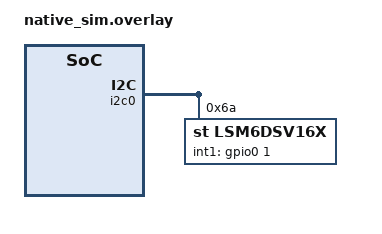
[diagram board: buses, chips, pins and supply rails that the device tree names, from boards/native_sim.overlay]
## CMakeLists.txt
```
# SPDX-License-Identifier: AGPL-3.0-or-later

cmake_minimum_required(VERSION 3.20.0)
find_package(Zephyr REQUIRED HINTS $ENV{ZEPHYR_BASE})
project(imu_threshold)

set(IMU_EMUL_DIR ${ZEPHYR_BASE}/tests/drivers/sensor/lsm6dsv16x_stream/src)
target_include_directories(app PRIVATE ../../src ${IMU_EMUL_DIR})
target_sources(app PRIVATE
	src/main.c
	../../src/imu.c
	../../src/ibex_settings_registry.c
	${IMU_EMUL_DIR}/lsm6dsv16x_emul.c
)
```

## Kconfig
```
# SPDX-License-Identifier: AGPL-3.0-or-later

config IBEX_ACCELEROMETER
	bool
	default y

source "Kconfig.zephyr"
```

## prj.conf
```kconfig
# SPDX-License-Identifier: AGPL-3.0-or-later

CONFIG_ZTEST=y
CONFIG_ASSERT=y
CONFIG_FPU=y
CONFIG_FPU_SHARING=y
CONFIG_MAIN_STACK_SIZE=2048
CONFIG_EMUL=y
CONFIG_GPIO=y
CONFIG_GPIO_EMUL=y
CONFIG_SENSOR=y
CONFIG_SENSOR_ASYNC_API=y
CONFIG_SENSOR_CLOCK_SYSTEM=y
CONFIG_LSM6DSV16X=y
CONFIG_LSM6DSV16X_STREAM=y
CONFIG_LSM6DSV16X_TRIGGER_NONE=y
CONFIG_RTIO_WORKQ_POOL_ITEMS=2
```

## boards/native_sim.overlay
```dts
/* SPDX-License-Identifier: AGPL-3.0-or-later */

#include <zephyr/dt-bindings/gpio/gpio.h>
#include <zephyr/dt-bindings/sensor/lsm6dsvxxx.h>

/ {
	aliases {
		accel0 = &lsm6dsv16x;
	};
};

&i2c0 {
	status = "okay";

	lsm6dsv16x: lsm6dsv16x@6a {
		compatible = "st,lsm6dsv16x";
		reg = <0x6a>;
		int1-gpios = <&gpio0 1 GPIO_ACTIVE_HIGH>;
		drdy-pin = <1>;
		accel-odr = <LSM6DSVXXX_DT_ODR_AT_120Hz>;
		gyro-odr = <LSM6DSVXXX_DT_ODR_AT_120Hz>;
		fifo-watermark = <1>;
		accel-fifo-batch-rate = <LSM6DSVXXX_DT_XL_BATCHED_AT_120Hz>;
		gyro-fifo-batch-rate = <LSM6DSVXXX_DT_GY_BATCHED_AT_120Hz>;
		sflp-odr = <LSM6DSVXXX_DT_SFLP_ODR_AT_120Hz>;
		sflp-fifo-enable = <(LSM6DSVXXX_DT_SFLP_FIFO_GAME_ROTATION
				    | LSM6DSVXXX_DT_SFLP_FIFO_GBIAS)>;
	};
};
```

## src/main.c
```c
/* SPDX-License-Identifier: AGPL-3.0-or-later */
#include <zephyr/drivers/gpio.h>
#include <zephyr/drivers/gpio/gpio_emul.h>
#include <zephyr/ztest.h>

#include "controller.h"
#include "ibex_settings_registry.h"
#include "imu.h"
#include "lsm6dsv16x_emul.h"

#define REG_FIFO_CTRL4 0x0a
#define REG_CTRL10 0x19

static const struct gpio_dt_spec interrupt = GPIO_DT_SPEC_GET(DT_ALIAS(accel0), int1_gpios);
static const uint8_t gyro_sample[7] = { 0x08, 0x10, 0x00, 0x20, 0x00, 0x30, 0x00 };

static void read_sample(void)
{
	lsm6dsv16x_emul_set_fifo(gyro_sample);
	zassert_ok(gpio_emul_input_set_dt(&interrupt, 1));
	zassert_ok(gpio_emul_input_set_dt(&interrupt, 0));
	k_msleep(20);
}

ZTEST(imu_threshold, test_live_threshold_change_preserves_bias_and_fifo)
{
	struct controller_report report = { 0 };
	const uint8_t thresholds[] = { 50, 0, 200 };

	ibex_settings_registry_init();
	zassert_ok(ibex_setting_set(IBEX_SETTING_IMU_MODE, 1));
	zassert_ok(imu_init());
	k_msleep(20);

	/* Model learned SFLP bias that differs from the initial zero calibration. */
	lsm6dsv16x_emul_page_set(0x6e, 0x55);
	lsm6dsv16x_emul_page_set(0x6f, 0x35);
	lsm6dsv16x_emul_clear_write_counts();

	for(size_t i = 0; i < ARRAY_SIZE(thresholds); ++i)
	{
		zassert_ok(ibex_setting_set(IBEX_SETTING_IMU_GYRO_THRESHOLD, thresholds[i]));
		/* Exercise multiple completions, including any pending cancellation/restart. */
		read_sample();
		read_sample();
		read_sample();
		zassert_equal(0x55, lsm6dsv16x_emul_page_get(0x6e));
		zassert_equal(0x35, lsm6dsv16x_emul_page_get(0x6f));
		zassert_equal(0, lsm6dsv16x_emul_write_count(REG_FIFO_CTRL4));
		zassert_equal(0, lsm6dsv16x_emul_write_count(REG_CTRL10));
	}
	zassert_ok(imu_read_report(&report));
	zassert_not_equal(0, report.gyro_x);
	zassert_not_equal(0, report.gyro_y);
}

ZTEST_SUITE(imu_threshold, NULL, NULL, NULL, NULL, NULL);
```
